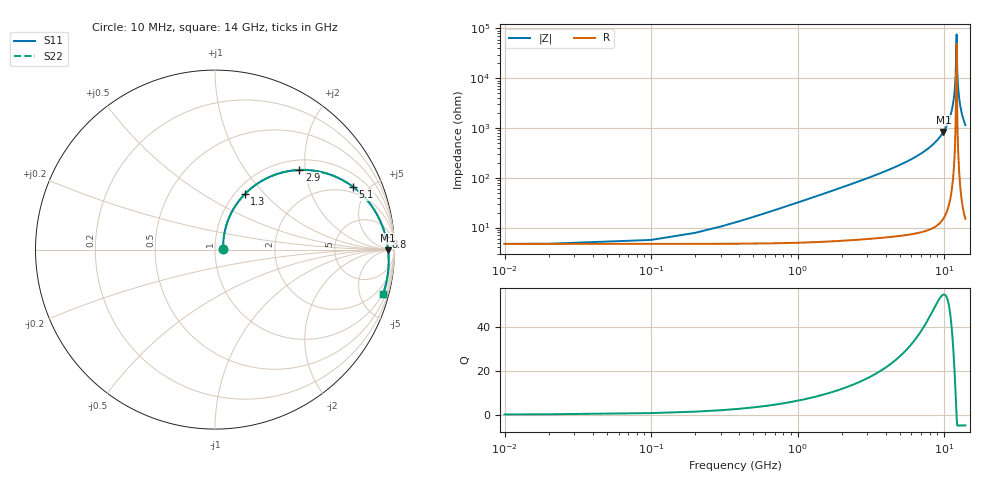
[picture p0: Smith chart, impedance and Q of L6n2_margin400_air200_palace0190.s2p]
! Created with skrf 2.2.0 (http://scikit-rf.org).
# GHz S DB R 50.0
! Port[1] = P1
! Port[2] = P2
!freq dBS11 angS11 dBS21 angS21 dBS12 angS12 dBS22 angS22
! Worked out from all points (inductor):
!   142 points, 10 MHz to 14 GHz, reference 50 ohm
!   read as one part in series: L = 4.97 nH near 500 MHz
!   highest Q = 55 at 9.9 GHz (marker M1), where L = 13.3 nH
!   self-resonance near 12.1 GHz
!   S11 on the Smith chart (normalised r, x): 10 MHz: 1.09, +0.01; 1.3 GHz: 1.11, +0.78; 2.9 GHz: 1.22, +1.86; 5.1 GHz: 1.63, +3.99; 8.8 GHz: 12, +19; 14 GHz: 0.93, -7.50
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0.01  -26.97 3.3  -0.40 -0.2  -0.40 -0.2  -26.97 3.3
0.6  -15.33 65.9  -0.58 -10.8  -0.58 -10.8  -15.33 65.9
1.3  -9.11 61.8  -1.10 -22.3  -1.10 -22.3  -9.11 61.8
2.4  -4.85 48.8  -2.39 -37.8  -2.39 -37.8  -4.86 48.8
2.9  -3.78 43.3  -3.10 -43.8  -3.10 -43.8  -3.78 43.3
4.7  -1.71 27.3  -6.02 -60.8  -6.02 -60.8  -1.71 27.3
5.1  -1.46 24.4  -6.73 -63.8  -6.73 -63.8  -1.46 24.4
7.1  -0.70 12.4  -10.63 -76.3  -10.63 -76.3  -0.70 12.4
8.8  -0.41 4.4  -14.87 -84.6  -14.87 -84.6  -0.41 4.4
9.4  -0.35 1.8  -16.78 -87.1  -16.78 -87.1  -0.35 1.8
9.9  -0.31 -0.2  -18.66 -89.2  -18.66 -89.2  -0.31 -0.2
11  -0.26 -4.5  -24.70 -93.2  -24.70 -93.2  -0.26 -4.5
11.7  -0.24 -7.0  -32.69 -94.6  -32.69 -94.6  -0.25 -7.0
11.9  -0.24 -7.7  -37.42 -93.9  -37.42 -93.9  -0.24 -7.7
12  -0.24 -8.1  -41.26 -92.3  -41.26 -92.3  -0.24 -8.1
12.1  -0.24 -8.4  -48.19 -85.9  -48.19 -85.9  -0.24 -8.4
12.2  -0.24 -8.8  -57.89 41.1  -57.89 41.1  -0.24 -8.8
12.3  -0.24 -9.2  -44.76 72.9  -44.76 72.9  -0.24 -9.2
12.4  -0.24 -9.5  -39.59 76.2  -39.59 76.2  -0.24 -9.5
12.6  -0.24 -10.2  -34.04 77.7  -34.04 77.7  -0.24 -10.2
13.1  -0.25 -11.9  -27.34 77.1  -27.34 77.1  -0.25 -11.9
14  -0.28 -15.0  -21.59 74.5  -21.59 74.5  -0.28 -15.0
